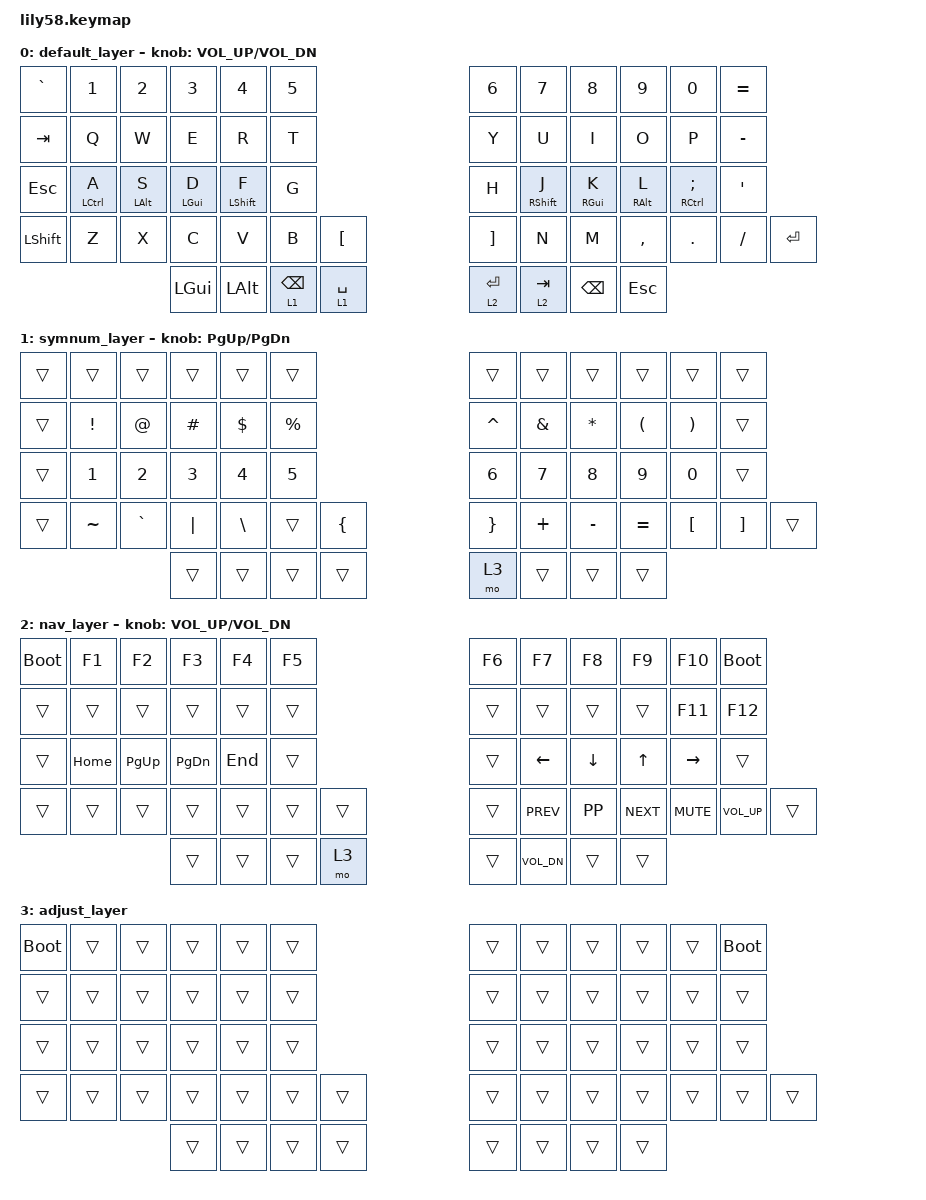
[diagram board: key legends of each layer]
// Lily58 ZMK Keymap with Home Row Mods
// Optimized layout for nice!nano

#include <behaviors.dtsi>
#include <dt-bindings/zmk/keys.h>
#include <dt-bindings/zmk/bt.h>

// Home row mods configuration
// Tap for letter, hold for modifier
#define HM_A &mt LCTRL A
#define HM_S &mt LALT S
#define HM_D &mt LGUI D
#define HM_F &mt LSHFT F

#define HM_J &mt RSHFT J
#define HM_K &mt RGUI K
#define HM_L &mt RALT L
#define HM_SEMI &mt RCTRL SEMI

// Layer-tap: tap for key, hold for layer
#define LT_SPC &lt 1 SPACE
#define LT_ENT &lt 2 RET
#define LT_BSP &lt 1 BSPC
#define LT_TAB &lt 2 TAB

/ {
    keymap {
        compatible = "zmk,keymap";

        // Layer 0: Base Layer with Home Row Mods
        default_layer {
            bindings = <
                // Left Hand                                                    // Right Hand
                &kp GRAVE &kp N1 &kp N2 &kp N3 &kp N4 &kp N5                   &kp N6 &kp N7 &kp N8 &kp N9 &kp N0 &kp EQUAL
                &kp TAB   &kp Q  &kp W  &kp E  &kp R  &kp T                     &kp Y  &kp U  &kp I  &kp O  &kp P  &kp MINUS
                &kp ESC   HM_A  HM_S  HM_D  HM_F  &kp G                        &kp H  HM_J  HM_K  HM_L  HM_SEMI &kp SQT
                &kp LSHFT &kp Z  &kp X  &kp C  &kp V  &kp B  &kp LBKT         &kp RBKT &kp N &kp M &kp COMMA &kp DOT &kp FSLH &kp RET
                                      &kp LGUI &kp LALT LT_BSP LT_SPC         LT_ENT LT_TAB &kp BSPC &kp ESC
            >;

            sensor-bindings = <&inc_dec_kp C_VOL_UP C_VOL_DN>;
        };

        // Layer 1: Symbol and Number Layer
        symnum_layer {
            bindings = <
                &trans &trans &trans &trans &trans &trans                     &trans &trans &trans &trans &trans &trans
                &trans &kp EXCL &kp AT &kp HASH &kp DLLR &kp PRCNT             &kp CARET &kp AMPS &kp ASTRK &kp LPAR &kp RPAR &trans
                &trans &kp N1 &kp N2 &kp N3 &kp N4 &kp N5                       &kp N6 &kp N7 &kp N8 &kp N9 &kp N0 &trans
                &trans &kp TILDE &kp GRAVE &kp PIPE &kp BSLH &trans &kp LBRC   &kp RBRC &kp PLUS &kp MINUS &kp EQUAL &kp LBKT &kp RBKT &trans
                                      &trans &trans &trans &trans               &mo 3 &trans &trans &trans
            >;

            sensor-bindings = <&inc_dec_kp PG_UP PG_DN>;
        };

        // Layer 2: Navigation and Function Layer
        nav_layer {
            bindings = <
                &bootloader &kp F1 &kp F2 &kp F3 &kp F4 &kp F5                 &kp F6 &kp F7 &kp F8 &kp F9 &kp F10 &bootloader
                &trans &trans &trans &trans &trans &trans                      &trans &trans &trans &trans &kp F11 &kp F12
                &trans &kp HOME &kp PG_UP &kp PG_DN &kp END &trans             &trans &kp LEFT &kp DOWN &kp UP &kp RIGHT &trans
                &trans &trans &trans &trans &trans &trans &trans               &trans &kp K_PREV &kp K_PP &kp K_NEXT &kp K_MUTE &kp C_VOL_UP &trans
                                      &trans &trans &trans &mo 3               &trans &kp C_VOL_DN &trans &trans
            >;

            sensor-bindings = <&inc_dec_kp C_VOL_UP C_VOL_DN>;
        };

        // Layer 3: Bluetooth and Adjust Layer
        adjust_layer {
            bindings = <
                &bootloader &trans &trans &trans &trans &trans                 &trans &trans &trans &trans &trans &bootloader
                &trans &trans &trans &trans &trans &trans                      &trans &trans &trans &trans &trans &trans
                &trans &trans &trans &trans &trans &trans                      &trans &trans &trans &trans &trans &trans
                &trans &trans &trans &trans &trans &trans &trans               &trans &trans &trans &trans &trans &trans &trans
                                      &trans &trans &trans &trans               &trans &trans &trans &trans
            >;
        };
    };
};
